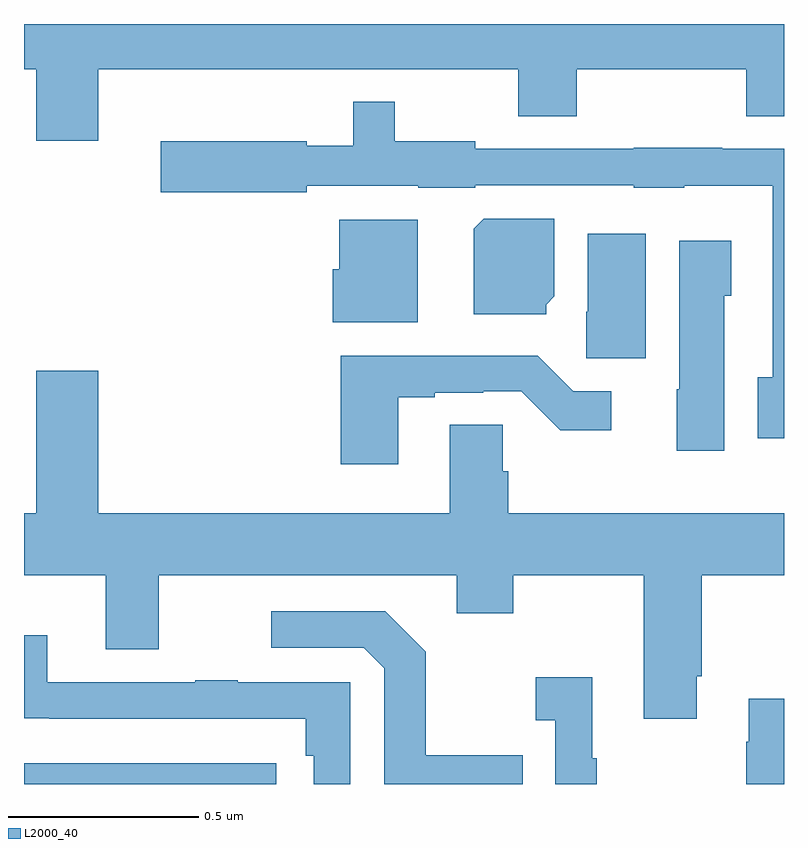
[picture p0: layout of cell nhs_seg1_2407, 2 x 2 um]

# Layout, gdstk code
import gdstk
lib = gdstk.Library(unit=1e-6, precision=1e-09)
def R(c, l, rs):  # rectangles x0, y0, x1, y1
    for r in rs: c.add(gdstk.rectangle(r[:2], r[2:], *l))
def P(c, l, *ps):  # polygons
    for p in ps: c.add(gdstk.Polygon(p, *l))
L2000_40 = (2000, 40)

nhs_seg1_2407 = lib.new_cell('nhs_seg1_2407')
R(nhs_seg1_2407, L2000_40, [(141,535.199,141.664,535.254)])
P(nhs_seg1_2407, L2000_40, [(141.196,537.08),(142.3,537.08),(142.3,536.956),(142.455,536.956),(142.455,537.08),(142.9,537.08),(142.9,536.956),(143,536.956),(143,537.199),(141,537.199),(141,537.08),(141.032,537.08),(141.032,536.892),(141.196,536.892)],
  [(143,536.871),(142.837,536.871),(142.837,536.873),(142.605,536.873),(142.605,536.871),(142.188,536.871),(142.188,536.89),(141.976,536.89),(141.976,536.995),(141.867,536.995),(141.867,536.879),(141.744,536.879),(141.744,536.89),(141.36,536.89),(141.36,536.756),(141.744,536.756),(141.744,536.774),(142.038,536.774),(142.038,536.768),(142.188,536.768),(142.188,536.775),(142.605,536.775),(142.605,536.768),(142.737,536.768),(142.737,536.774),(142.971,536.774),(142.971,536.27),(142.931,536.27),(142.931,536.109),(143,536.109)],
  [(142.374,536.46),(142.396,536.482),(142.396,536.686),(142.21,536.686),(142.184,536.66),(142.184,536.435),(142.374,536.435)],
  [(142.036,536.684),(141.83,536.684),(141.83,536.553),(141.812,536.553),(141.812,536.414),(142.036,536.414)],
  [(142.636,536.647),(142.484,536.647),(142.484,536.442),(142.48,536.442),(142.48,536.319),(142.636,536.319)],
  [(142.843,536.484),(142.861,536.484),(142.861,536.629),(142.724,536.629),(142.724,536.238),(142.718,536.238),(142.718,536.076),(142.843,536.076)],
  [(141.985,536.217),(142.081,536.217),(142.081,536.229),(142.208,536.229),(142.208,536.232),(142.308,536.232),(142.411,536.13),(142.546,536.13),(142.546,536.232),(142.446,536.232),(142.352,536.326),(141.833,536.326),(141.833,536.04),(141.985,536.04)],
  [(142.771,535.483),(142.784,535.483),(142.784,535.748),(143,535.748),(143,535.912),(142.274,535.912),(142.274,536.022),(142.26,536.022),(142.26,536.144),(142.121,536.144),(142.121,535.912),(141.196,535.912),(141.196,536.287),(141.032,536.287),(141.032,535.912),(141,535.912),(141,535.748),(141.215,535.748),(141.215,535.554),(141.355,535.554),(141.355,535.748),(142.139,535.748),(142.139,535.649),(142.287,535.649),(142.287,535.748),(142.631,535.748),(142.631,535.371),(142.771,535.371)],
  [(142.313,535.275),(142.057,535.275),(142.057,535.547),(141.951,535.653),(141.651,535.653),(141.651,535.557),(141.894,535.557),(141.948,535.503),(141.948,535.199),(142.313,535.199)],
  [(141.858,535.467),(141.563,535.467),(141.563,535.472),(141.451,535.472),(141.451,535.467),(141.061,535.467),(141.061,535.591),(141,535.591),(141,535.372),(141.067,535.372),(141.067,535.371),(141.742,535.371),(141.742,535.274),(141.762,535.274),(141.762,535.199),(141.858,535.199)],
  [(142.507,535.267),(142.495,535.267),(142.495,535.48),(142.347,535.48),(142.347,535.367),(142.398,535.367),(142.398,535.199),(142.507,535.199)],
  [(143,535.423),(142.907,535.423),(142.907,535.31),(142.9,535.31),(142.9,535.199),(143,535.199)])

lib.write_gds('nhs_seg1_2407.gds')
